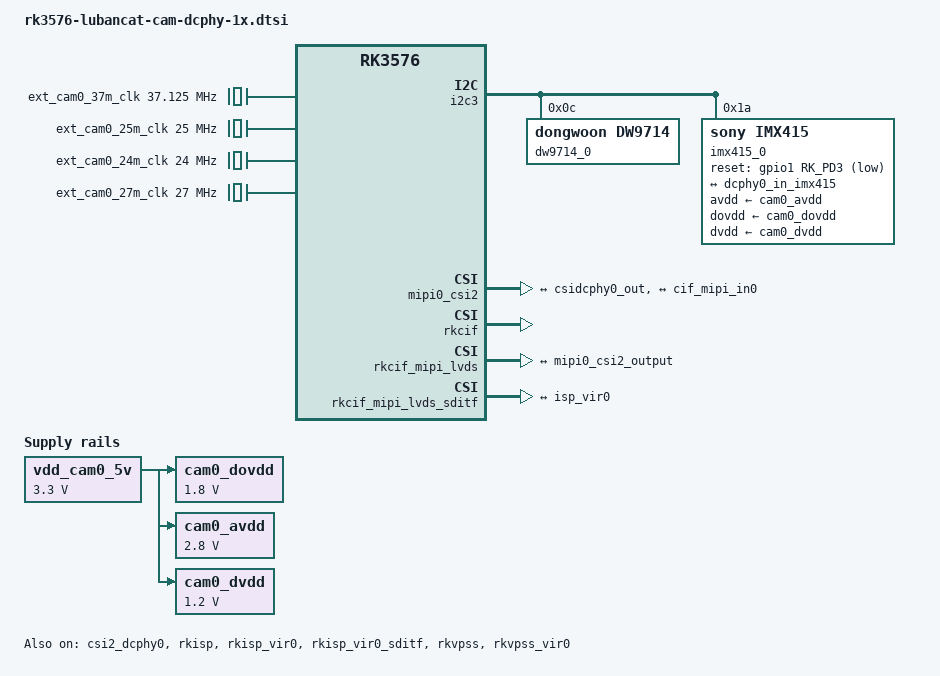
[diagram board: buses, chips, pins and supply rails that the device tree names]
// SPDX-License-Identifier: (GPL-2.0+ OR MIT)
/*
 * Copyright (c) 2024 Rockchip Electronics Co., Ltd.
 * Copyright (c) 2024 EmbedFire <embedfire@embedfire.com>
 *
 */

/ {
	ext_cam0_37m_clk: external-camera-37m-clock {
		compatible = "fixed-clock";
		clock-frequency = <37125000>;
		clock-output-names = "ext_cam0_37m_clk";
		#clock-cells = <0>;
	};

	ext_cam0_25m_clk: external-camera-25m-clock {
		compatible = "fixed-clock";
		clock-frequency = <25000000>;
		clock-output-names = "ext_cam0_25m_clk";
		#clock-cells = <0>;
	};

	ext_cam0_24m_clk: external-camera-24m-clock {
		compatible = "fixed-clock";
		#clock-cells = <0>;
		clock-frequency = <24000000>;
		clock-output-names = "ext_cam0_24m_clk";
	};

	ext_cam0_27m_clk: external-camera-27m-clock {
		compatible = "fixed-clock";
		#clock-cells = <0>;
		clock-frequency = <27000000>;
		clock-output-names = "ext_cam0_27m_clk";
	};

	vdd_cam0_5v: vdd-cam0-5v-regulator {
		compatible = "regulator-fixed";
		regulator-name = "vdd_cam0_5v";
		regulator-always-on;
		regulator-boot-on;
		regulator-min-microvolt = <3300000>;
		regulator-max-microvolt = <3300000>;
	};

	cam0_dovdd: cam0-dovdd {
		compatible = "regulator-fixed";
		regulator-name = "cam0_dovdd";
		regulator-always-on;
		regulator-boot-on;
		regulator-min-microvolt = <1800000>;
		regulator-max-microvolt = <1800000>;
		vin-supply = <&vdd_cam0_5v>;
	};

	cam0_avdd: cam0-avdd {
		compatible = "regulator-fixed";
		regulator-name = "cam0_avdd";
		regulator-always-on;
		regulator-boot-on;
		regulator-min-microvolt = <2800000>;
		regulator-max-microvolt = <2800000>;
		vin-supply = <&vdd_cam0_5v>;
	};

	cam0_dvdd: cam0-dvdd {
		compatible = "regulator-fixed";
		regulator-name = "cam0_dvdd";
		regulator-always-on;
		regulator-boot-on;
		regulator-min-microvolt = <1200000>;
		regulator-max-microvolt = <1200000>;
		vin-supply = <&vdd_cam0_5v>;
	};
};

&csi2_dcphy0 {
	status = "okay";

	ports {
		#address-cells = <1>;
		#size-cells = <0>;
		port@0 {
			reg = <0>;
			#address-cells = <1>;
			#size-cells = <0>;

			dcphy0_in_imx415: endpoint@1 {
				reg = <1>;
				remote-endpoint = <&imx415_out0>;
				data-lanes = <1 2 3 4>;
			};

			dcphy0_in_ov5647: endpoint@2 {
				reg = <2>;
				remote-endpoint = <&ov5647_out0>;
				data-lanes = <1 2>;
			};

			dcphy0_in_ov5648: endpoint@3 {
				reg = <3>;
				remote-endpoint = <&ov5648_out0>;
				data-lanes = <1 2>;
			};

			dcphy0_in_ov8858: endpoint@4 {
				reg = <4>;
				remote-endpoint = <&ov8858_out0>;
				data-lanes = <1 2>;
			};

			dcphy0_in_sc530ai: endpoint@5 {
				reg = <5>;
				remote-endpoint = <&sc530ai_out0>;
				data-lanes = <1 2 3 4>;
			};
		};
		port@1 {
			reg = <1>;
			#address-cells = <1>;
			#size-cells = <0>;

			csidcphy0_out: endpoint@0 {
				reg = <0>;
				remote-endpoint = <&mipi0_csi2_input>;
			};
		};
	};
};

&i2c3 {
	status = "okay";
	pinctrl-0 = <&i2c3m0_xfer>;

	dw9714_0: dw9714-0@c {
		status = "okay";
		compatible = "dongwoon,dw9714";
		reg = <0xc>;
		rockchip,camera-module-index = <0>;
		rockchip,vcm-max-current = <100>;
		rockchip,vcm-start-current = <0>;
		rockchip,vcm-rated-current = <100>;
		rockchip,vcm-step-mode = <0xd>;
		rockchip,vcm-dlc-enable = <0>;
		rockchip,vcm-mclk = <0>;
		rockchip,vcm-t-src = <0>;
		rockchip,camera-module-facing = "back";
	};

	imx415_0: imx415@1a {
		compatible = "sony,imx415";
		status = "okay";
		reg = <0x1a>;
		clocks = <&ext_cam0_37m_clk>;
		clock-names = "xvclk";
		avdd-supply = <&cam0_avdd>;
		dovdd-supply = <&cam0_dovdd>;
		dvdd-supply = <&cam0_dvdd>;
		reset-gpios = <&gpio1 RK_PD3 GPIO_ACTIVE_LOW>;

		rockchip,camera-module-index = <0>;
		rockchip,camera-module-facing = "back";
		rockchip,camera-module-name = "CMK-OT2022-PX1";
		rockchip,camera-module-lens-name = "IR0147-50IRC-8M-F20";
		port {
			imx415_out0: endpoint {
				remote-endpoint = <&dcphy0_in_imx415>;
				data-lanes = <1 2 3 4>;
			};
		};
	};

	ov5647_0: ov5647-0@36 {
		compatible = "ovti,ov5647";
		status = "disabled";
		reg = <0x36>;
		clocks = <&ext_cam0_25m_clk>;
		clock-names = "ext_cam_25m_clk";
		//reset-gpios = <&gpio1 RK_PD3 GPIO_ACTIVE_LOW>;
		pwdn-gpios = <&gpio1 RK_PD2 GPIO_ACTIVE_HIGH>;
		lens-focus = <&dw9714_0>;

		port {
			ov5647_out0: endpoint {
			remote-endpoint = <&dcphy0_in_ov5647>;
			data-lanes = <1 2>;
			};
		};
	};

	ov5648_0: ov5648-0@36 {
		compatible = "ovti,ov5648";
		status = "disabled";
		reg = <0x36>;
		clocks = <&ext_cam0_24m_clk>;
		clock-names = "xvclk";
		dovdd-supply= <&cam0_dovdd>; /* 1.8v */
		avdd-supply = <&cam0_avdd>;  /* 2.8v */
		dvdd-supply = <&cam0_dvdd>;  /* 1.2v */
		reset-gpios = <&gpio1 RK_PD3 GPIO_ACTIVE_LOW>;
		pwdn-gpios = <&gpio1 RK_PD2 GPIO_ACTIVE_HIGH>;
		rotation = <180>;

		rockchip,camera-module-index = <0>;
		rockchip,camera-module-facing = "back";
		rockchip,camera-module-name = "THDS11073";
		rockchip,camera-module-lens-name = "Largan-40122a1";
		lens-focus = <&dw9714_0>;

		port {
			/* MIPI CSI-2 bus endpoint */
			ov5648_out0: endpoint {
				remote-endpoint = <&dcphy0_in_ov5648>;
				clock-lanes = <0>;
				data-lanes = <1 2>;
			};
		};
	};

	ov8858_0: ov8858-0@36 {
		compatible = "ovti,ov8858";
		status = "disabled";
		reg = <0x36>;
		clocks = <&ext_cam0_24m_clk>;
		clock-names = "xvclk";
		dovdd-supply= <&cam0_dovdd>; /* 1.8v */
		avdd-supply = <&cam0_avdd>;  /* 2.8v */
		dvdd-supply = <&cam0_dvdd>;  /* 1.2v */
		reset-gpios = <&gpio1 RK_PD3 GPIO_ACTIVE_LOW>;
		pwdn-gpios = <&gpio1 RK_PD2 GPIO_ACTIVE_HIGH>;
		rotation = <180>;

		rockchip,camera-module-index = <0>;
		rockchip,camera-module-facing = "back";
		rockchip,camera-module-name = "HS5885-BNSM1018-V01";
		rockchip,camera-module-lens-name = "default";
		lens-focus = <&dw9714_0>;
		port {
			/* MIPI CSI-2 bus endpoint */
			ov8858_out0: endpoint {
				remote-endpoint = <&dcphy0_in_ov8858>;
				clock-lanes = <0>;
				data-lanes = <1 2>;
			};
		};
	};

	sc530ai_0: sc530ai-0@30 {
		compatible = "smartsens,sc530ai";
		status = "disabled";
		reg = <0x30>;
		clocks = <&ext_cam0_24m_clk>;
		clock-names = "xvclk";
		reset-gpios = <&gpio1 RK_PD3 GPIO_ACTIVE_LOW>;
		pwdn-gpios = <&gpio1 RK_PD2 GPIO_ACTIVE_HIGH>;
		rockchip,camera-module-index = <0>;
		rockchip,camera-module-facing = "back";
		rockchip,camera-module-name = "CMK-OT2115-PC1";
		rockchip,camera-module-lens-name = "30IRC-F16";
		rotation = <180>;

		port {
			sc530ai_out0: endpoint {
				remote-endpoint = <&dcphy0_in_sc530ai>;
				data-lanes = <1 2 3 4>;
			};
		};
	};
};

&mipi0_csi2 {
	status = "okay";

	ports {
		#address-cells = <1>;
		#size-cells = <0>;

		port@0 {
			reg = <0>;
			#address-cells = <1>;
			#size-cells = <0>;

			mipi0_csi2_input: endpoint@1 {
				reg = <1>;
				remote-endpoint = <&csidcphy0_out>;
			};
		};

		port@1 {
			reg = <1>;
			#address-cells = <1>;
			#size-cells = <0>;

			mipi0_csi2_output: endpoint@0 {
				reg = <0>;
				remote-endpoint = <&cif_mipi_in0>;
			};
		};
	};
};

&rkcif {
	status = "okay";
};

&rkcif_mipi_lvds {
	status = "okay";

	port {
		cif_mipi_in0: endpoint {
			remote-endpoint = <&mipi0_csi2_output>;
		};
	};
};

&rkcif_mipi_lvds_sditf {
	status = "okay";

	port {
		mipi_lvds_sditf: endpoint {
			remote-endpoint = <&isp_vir0>;
		};
	};
};

&rkcif_mmu {
	status = "okay";
};

&rkisp {
	status = "okay";
};

&rkisp_mmu {
	status = "okay";
};

&rkisp_vir0 {
	status = "okay";

	port {
		#address-cells = <1>;
		#size-cells = <0>;

		isp_vir0: endpoint@0 {
			reg = <0>;
			remote-endpoint = <&mipi_lvds_sditf>;
		};
	};
};

&rkisp_vir0_sditf {
	status = "okay";
};

&rkvpss {
	status = "okay";
};

&rkvpss_mmu {
	status = "okay";
};

&rkvpss_vir0 {
	status = "okay";
};
